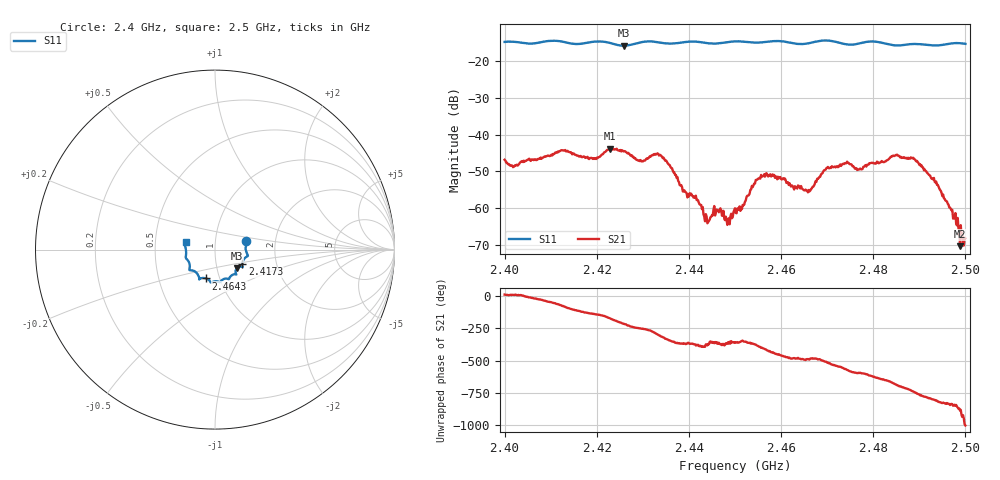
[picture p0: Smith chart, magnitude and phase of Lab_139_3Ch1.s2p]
# Hz S RI R 50
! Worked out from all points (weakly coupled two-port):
!   601 points, 2.4 GHz to 2.5 GHz, reference 50 ohm
!   highest |S21| = -43.80 dB at 2.4228 GHz (marker M1); lowest = -70.2 dB at 2.4988 GHz (marker M2)
!   lowest |S11| = -15.9 dB at 2.4258 GHz (marker M3), VSWR 1.38, Z = 62.3 - j13.2 ohm
!   |S11| at or under -10 dB: start of sweep to end of sweep
!   S12 and S22 are empty: the file has one direction only
!   S11 on the Smith chart (normalised r, x): 2.4 GHz: 1.41, +0.14; 2.4173 GHz: 1.34, -0.23; 2.4643 GHz: 0.86, -0.28; 2.5 GHz: 0.72, +0.06
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2.4e9  0.1733 0.0488  0.00444 0.00103  0 0  0 0
2.402333e9  0.1755 0.0388  0.00376 0.000888  0 0  0 0
2.412667e9  0.1765 -0.0397  0.00158 -0.00588  0 0  0 0
2.416667e9  0.153 -0.0746  -0.00254 -0.00428  0 0  0 0
2.417333e9  0.1519 -0.0821  -0.00294 -0.00408  0 0  0 0
2.422833e9  0.1468 -0.0946  -0.00637 -0.00105  0 0  0 0
2.425833e9  0.1217 -0.1036  -0.00493 0.00327  0 0  0 0
2.4295e9  0.1163 -0.1344  -0.00152 0.00425  0 0  0 0
2.433333e9  0.1129 -0.1372  0.00266 0.00478  0 0  0 0
2.439167e9  0.0798 -0.1602  0.00167 -0.000236  0 0  0 0
2.441667e9  0.0755 -0.1647  0.00124 -0.000369  0 0  0 0
2.443833e9  0.0645 -0.1611  0.000759 -0.000196  0 0  0 0
2.45e9  0.0287 -0.1809  0.001 -3.08e-05  0 0  0 0
2.456167e9  -0.00791 -0.1782  0.00194 -0.00194  0 0  0 0
2.464333e9  -0.0498 -0.1606  -0.00127 -0.00156  0 0  0 0
2.466667e9  -0.0759 -0.1593  -0.00103 -0.00156  0 0  0 0
2.470167e9  -0.0881 -0.1657  -0.00331 -0.00153  0 0  0 0
2.483333e9  -0.1405 -0.0899  0.00227 0.00404  0 0  0 0
2.49e9  -0.163 -0.0407  0.00287 -0.00262  0 0  0 0
2.493667e9  -0.1612 -0.00626  9.48e-05 -0.00231  0 0  0 0
2.498833e9  -0.169 0.0363  -0.0003 -6.79e-05  0 0  0 0
2.5e9  -0.1638 0.0426  9.07e-05 0.000383  0 0  0 0
